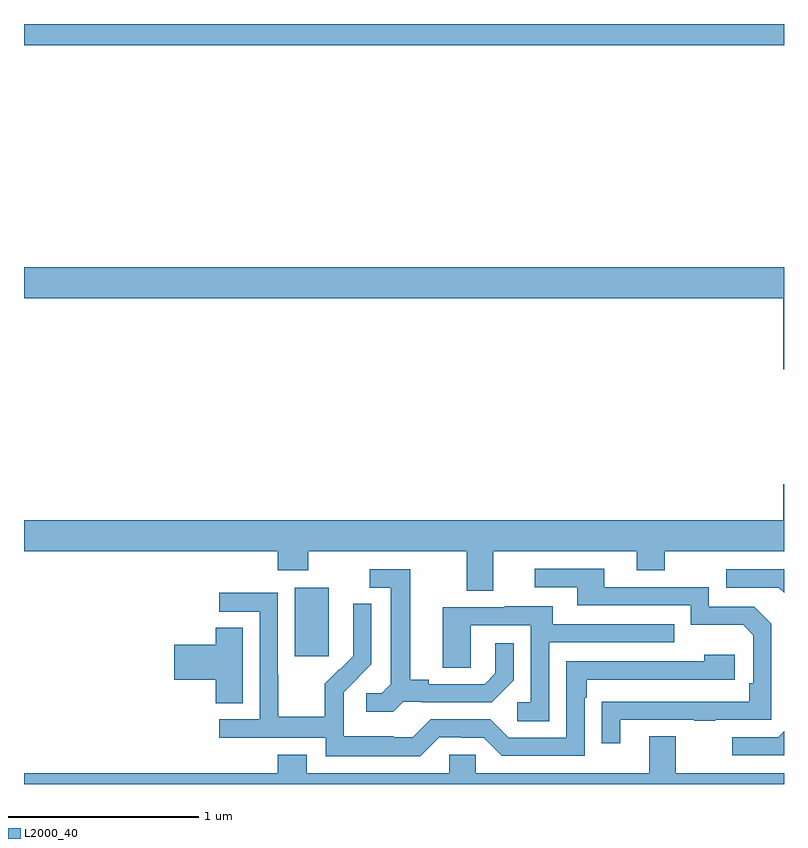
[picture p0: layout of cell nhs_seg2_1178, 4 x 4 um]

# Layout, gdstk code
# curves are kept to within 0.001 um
import gdstk
lib = gdstk.Library(unit=1e-6, precision=1e-09)
def R(c, l, rs):  # rectangles x0, y0, x1, y1
    for r in rs: c.add(gdstk.rectangle(r[:2], r[2:], *l))
def P(c, l, *ps):  # polygons
    for p in ps: c.add(gdstk.Polygon(p, *l))
L2000_40 = (2000, 40)

nhs_seg2_1178 = lib.new_cell('nhs_seg2_1178')
R(nhs_seg2_1178, L2000_40, [(174.425,592.473,174.604,592.834), (173,595.688,177,595.8)])
P(nhs_seg2_1178, L2000_40, [(177,594.52),(173,594.52),(173,594.356),(176.996,594.356),(176.996,593.982),(177,593.982)],
  [(175.471,593.024),(176.225,593.024),(176.225,592.925),(176.373,592.925),(176.373,593.024),(177,593.024),(177,593.377),(176.996,593.377),(176.996,593.188),(173,593.188),(173,593.024),(174.335,593.024),(174.335,592.925),(174.495,592.925),(174.495,593.024),(175.331,593.024),(175.331,592.816),(175.471,592.816)],
  [(176.137,592.137),(176.527,592.137),(176.527,592.132),(176.639,592.132),(176.639,592.137),(176.934,592.137),(176.934,592.644),(176.844,592.734),(176.604,592.734),(176.604,592.836),(176.053,592.836),(176.053,592.932),(175.689,592.932),(175.689,592.836),(175.913,592.836),(175.913,592.74),(176.508,592.74),(176.508,592.637),(176.785,592.637),(176.838,592.584),(176.838,592.33),(176.818,592.33),(176.818,592.233),(176.041,592.232),(176.041,592.014),(176.137,592.014)],
  [(177,592.929),(176.697,592.929),(176.697,592.833),(176.973,592.833),(177,592.806)],
  [(174.996,592.233),(175.09,592.233),(175.09,592.23),(175.462,592.23),(175.578,592.346),(175.578,592.54),(175.481,592.54),(175.481,592.383),(175.424,592.326),(175.129,592.326),(175.129,592.349),(175.033,592.349),(175.033,592.929),(174.819,592.929),(174.819,592.833),(174.929,592.833),(174.929,592.325),(174.882,592.278),(174.801,592.278),(174.801,592.181),(174.944,592.181)],
  [(175.185,592.047),(175.301,592.047),(175.301,592.044),(175.419,592.044),(175.515,591.948),(175.95,591.948),(175.95,592.253),(175.963,592.253),(175.963,592.35),(176.74,592.35),(176.74,592.48),(176.579,592.48),(176.579,592.446),(175.854,592.446),(175.854,592.044),(175.551,592.044),(175.455,592.14),(175.14,592.14),(175.047,592.047),(174.947,592.047),(174.947,592.051),(174.684,592.051),(174.684,592.185),(174.682,592.185),(174.682,592.282),(174.828,592.43),(174.828,592.748),(174.732,592.748),(174.732,592.594),(174.734,592.594),(174.734,592.472),(174.663,592.401),(174.66,592.404),(174.583,592.327),(174.583,592.153),(174.339,592.153),(174.339,592.376),(174.336,592.376),(174.336,592.806),(174.027,592.806),(174.027,592.707),(174.24,592.707),(174.24,592.14),(174.027,592.14),(174.027,592.044),(174.588,592.044),(174.588,591.947),(175.085,591.947)],
  [(175.764,592.545),(176.423,592.545),(176.423,592.641),(175.783,592.641),(175.783,592.735),(175.529,592.735),(175.529,592.731),(175.205,592.731),(175.205,592.411),(175.35,592.411),(175.35,592.635),(175.668,592.635),(175.668,592.23),(175.596,592.23),(175.596,592.129),(175.764,592.129)],
  [(174.151,592.622),(174.008,592.622),(174.008,592.532),(173.79,592.532),(173.79,592.349),(174.008,592.349),(174.008,592.225),(174.151,592.225)],
  [(177,592.077),(176.97,592.047),(176.727,592.047),(176.727,591.951),(177,591.951)],
  [(177,591.856),(176.431,591.856),(176.431,592.051),(176.291,592.051),(176.291,591.856),(175.377,591.856),(175.377,591.954),(175.239,591.954),(175.239,591.856),(174.487,591.856),(174.487,591.955),(174.335,591.955),(174.335,591.856),(173,591.856),(173,591.8),(177,591.8)])

lib.write_gds('nhs_seg2_1178.gds')
